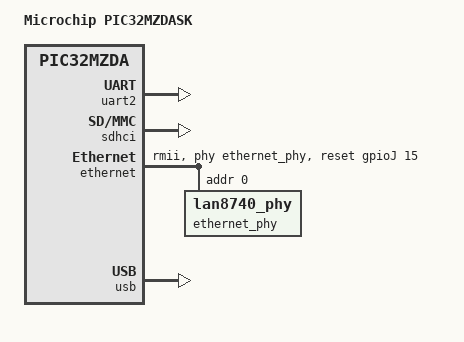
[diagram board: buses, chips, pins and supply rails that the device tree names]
// SPDX-License-Identifier: GPL-2.0+
/*
 * Copyright (C) 2015 Purna Chandra Mandal, purna.mandal@microchip.com
 */

/dts-v1/;

#include "pic32mzda.dtsi"

/ {
	model = "Microchip PIC32MZDASK";
	compatible = "microchip,pic32mzdask", "microchip,pic32mzda";

	aliases {
		console = &uart2;
		serial0 = &uart2;
	};

	chosen {
		stdout-path = "serial0:115200n8";
	};
};

&clock {
	microchip,refo2-frequency = <50000000>;
	microchip,refo4-frequency = <25000000>;
	microchip,refo5-frequency = <40000000>;
	status = "okay";
	u-boot,dm-pre-reloc;
};

&pinctrl {
	status = "okay";
	u-boot,dm-pre-reloc;
};

&uart2 {
	status = "okay";
	u-boot,dm-pre-reloc;
};

&sdhci {
	status = "okay";
};

&ethernet {
	reset-gpios = <&gpioJ 15 0>;
	status = "okay";
	phy-mode = "rmii";
	phy-handle = <&ethernet_phy>;
	ethernet_phy: lan8740_phy@0 {
		reg = <0>;
	};
};

&usb {
	status = "okay";
};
